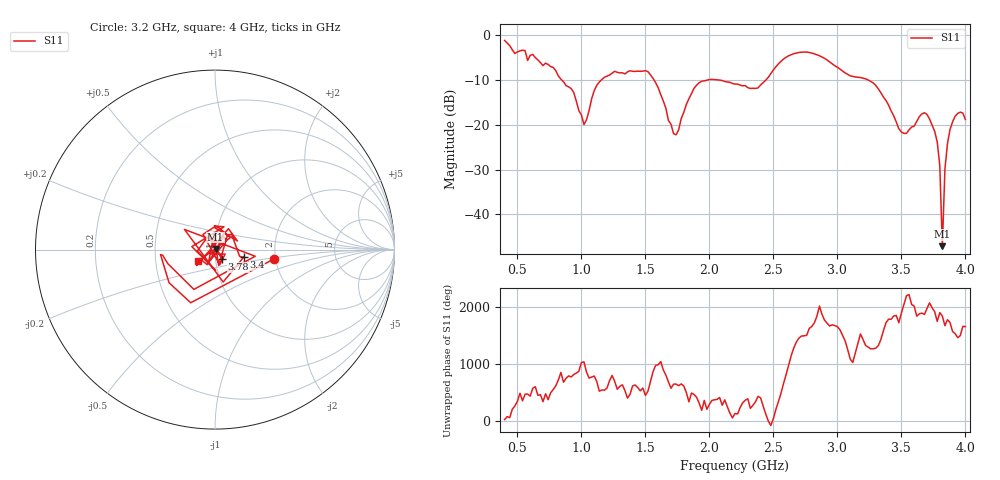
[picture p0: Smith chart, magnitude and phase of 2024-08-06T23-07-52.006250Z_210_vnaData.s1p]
!Created with skrf (http://scikit-rf.org).
# Hz S RI R 50.0
!freq ReS11 ImS11
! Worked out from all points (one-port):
!   181 points, 400 MHz to 4 GHz, reference 50 ohm
!   lowest |S11| = -47.1 dB at 3.82 GHz (marker M1), VSWR 1.01, Z = 50.3 + j0.285 ohm
!   |S11| at or under -10 dB: 1.567 GHz to 1.988 GHz (421.1 MHz wide, 23.7 % of centre); 2.068 GHz to 2.442 GHz (374 MHz wide, 16.6 % of centre); 3.239 GHz to end of sweep (the widest 3 of 4)
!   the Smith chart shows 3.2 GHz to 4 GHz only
!   S11 on the Smith chart (normalised r, x): 3.2 GHz: 1.95, -0.23; 3.4 GHz: 1.38, -0.12; 3.78 GHz: 1.07, -0.11; 4 GHz: 0.82, -0.11
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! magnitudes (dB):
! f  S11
! 400 MHz  -1.2
! 860 MHz  -10.4
! 940 MHz  -12.8
! 1.02 GHz  -20.0
! 1.12 GHz  -11.2
! 1.3 GHz  -8.4
! 1.52 GHz  -8.2
! 1.6 GHz  -11.8
! 1.72 GHz  -22.0
! 1.76 GHz  -21.1
! 1.92 GHz  -10.6
! 2.2 GHz  -10.9
! 2.38 GHz  -11.8
! 2.66 GHz  -4.1
! 2.84 GHz  -4.4
! 3.1 GHz  -9.1
! 3.2 GHz  -9.6
! 3.4 GHz  -15.6
! 3.5 GHz  -21.6
! 3.56 GHz  -21.1
! 3.68 GHz  -17.3
! 3.78 GHz  -23.8
! 3.8 GHz  -29.1
! 3.82 GHz  -47.1
! 3.84 GHz  -29.9
! 3.88 GHz  -21.0
! 3.94 GHz  -17.5
! 4 GHz  -18.8
